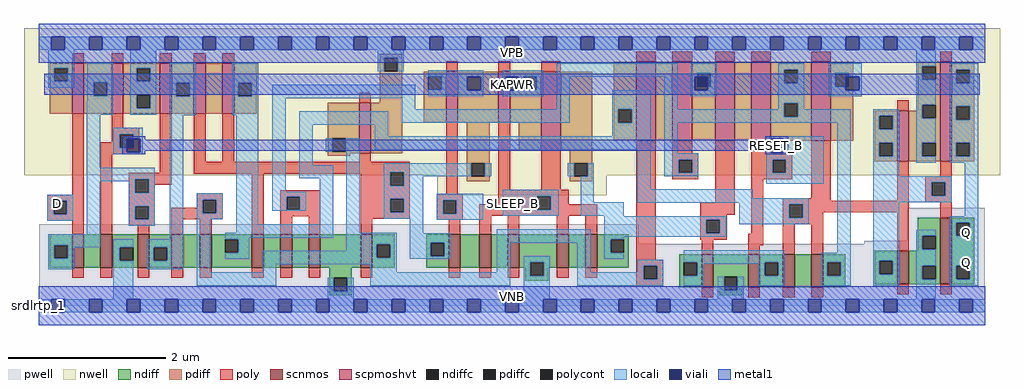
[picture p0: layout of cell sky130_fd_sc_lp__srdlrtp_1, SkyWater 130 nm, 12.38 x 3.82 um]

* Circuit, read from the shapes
.subckt sky130_fd_sc_lp__srdlrtp_1 D GATE RESET_B SLEEP_B KAPWR VGND VNB VPB VPWR Q
XM1 n1 D n2 VNB sky130_fd_pr__nfet_01v8 w=0.42 l=0.15
XM2 VGND RESET_B n1 VNB sky130_fd_pr__nfet_01v8 w=0.42 l=0.15
XM3 n3 n2 VGND VNB sky130_fd_pr__nfet_01v8 w=0.42 l=0.15
XM4 n4 n5 n3 VNB sky130_fd_pr__nfet_01v8 w=0.42 l=0.15
XM5 n6 n5 n4 VNB sky130_fd_pr__nfet_01v8 w=0.42 l=0.15
XM6 n7 n8 n6 VNB sky130_fd_pr__nfet_01v8 w=0.42 l=0.15
XM7 n9 n10 n7 VNB sky130_fd_pr__nfet_01v8 w=0.42 l=0.15
XM8 VGND n10 n9 VNB sky130_fd_pr__nfet_01v8 w=0.42 l=0.15
XM9 n5 n8 VGND VNB sky130_fd_pr__nfet_01v8 w=0.42 l=0.15
XM10 n11 GATE n8 VNB sky130_fd_pr__nfet_01v8 w=0.42 l=0.15
XM11 n12 SLEEP_B n11 VNB sky130_fd_pr__nfet_01v8 w=0.42 l=0.15
XM12 VGND SLEEP_B n12 VNB sky130_fd_pr__nfet_01v8 w=0.42 l=0.15
XM13 n13 SLEEP_B VGND VNB sky130_fd_pr__nfet_01v8 w=0.42 l=0.15
XM14 n14 SLEEP_B n13 VNB sky130_fd_pr__nfet_01v8 w=0.42 l=0.15
XM15 VGND n14 n15 VNB sky130_fd_pr__nfet_01v8 w=0.42 l=0.15
XM16 n15 RESET_B VGND VNB sky130_fd_pr__nfet_01v8 w=0.42 l=0.15
XM17 n16 n6 n15 VNB sky130_fd_pr__nfet_01v8 w=0.42 l=0.15
XM18 n10 n6 n16 VNB sky130_fd_pr__nfet_01v8 w=0.42 l=0.15
XM19 VGND n6 n17 VNB sky130_fd_pr__nfet_01v8 w=0.42 l=0.15
XM20 Q n17 VGND VNB sky130_fd_pr__nfet_01v8 w=0.84 l=0.15
XM21 n2 D VPWR VPB sky130_fd_pr__pfet_01v8_hvt w=0.64 l=0.15
XM22 VPWR RESET_B n2 VPB sky130_fd_pr__pfet_01v8_hvt w=0.64 l=0.15
XM23 n3 n2 VPWR VPB sky130_fd_pr__pfet_01v8_hvt w=0.64 l=0.15
XM24 n18 n8 n3 VPB sky130_fd_pr__pfet_01v8_hvt w=0.64 l=0.15
XM25 n6 n8 n18 VPB sky130_fd_pr__pfet_01v8_hvt w=0.64 l=0.15
XM26 VPWR n8 n5 VPB sky130_fd_pr__pfet_01v8_hvt w=0.64 l=0.15
XM27 n8 GATE KAPWR VPB sky130_fd_pr__pfet_01v8_hvt w=0.64 l=0.15
XM28 KAPWR SLEEP_B n8 VPB sky130_fd_pr__pfet_01v8_hvt w=0.64 l=0.15
XM29 n14 SLEEP_B KAPWR VPB sky130_fd_pr__pfet_01v8_hvt w=1 l=0.25
XM30 n19 n5 n6 VPB sky130_fd_pr__pfet_01v8_hvt w=1 l=0.25
XM31 KAPWR n10 n19 VPB sky130_fd_pr__pfet_01v8_hvt w=1 l=0.25
XM32 n20 n14 KAPWR VPB sky130_fd_pr__pfet_01v8_hvt w=1 l=0.25
XM33 n10 RESET_B n20 VPB sky130_fd_pr__pfet_01v8_hvt w=1 l=0.25
XM34 KAPWR n6 n10 VPB sky130_fd_pr__pfet_01v8_hvt w=1 l=0.25
XM35 VPWR n6 n17 VPB sky130_fd_pr__pfet_01v8_hvt w=0.64 l=0.15
XM36 Q n17 VPWR VPB sky130_fd_pr__pfet_01v8_hvt w=1.26 l=0.15
.ends

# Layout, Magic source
magic
tech sky130A
magscale 1 2
<< nwell >>
rect -38 331 2438 704
rect 1011 280 1440 331
<< pwell >>
rect 1 157 1522 207
rect 2203 165 2399 249
rect 2094 157 2399 165
rect 1 49 2399 157
rect 0 0 2400 49
<< scnmos >>
rect 84 97 114 181
rect 156 97 186 181
rect 250 97 280 181
rect 336 97 366 181
rect 408 97 438 181
rect 540 97 570 181
rect 612 97 642 181
rect 684 97 714 181
rect 816 97 846 181
rect 1039 97 1069 181
rect 1117 97 1147 181
rect 1189 97 1219 181
rect 1314 97 1344 181
rect 1386 97 1416 181
rect 1681 47 1711 131
rect 1799 47 1829 131
rect 1887 47 1917 131
rect 1959 47 1989 131
rect 2177 55 2207 139
rect 2286 55 2316 223
<< scpmoshvt >>
rect 84 487 114 615
rect 184 487 214 615
rect 307 487 337 615
rect 393 487 423 615
rect 465 487 495 615
rect 812 387 842 515
rect 1033 466 1063 594
rect 1165 466 1195 594
rect 1274 394 1324 594
rect 1515 419 1565 619
rect 1607 419 1657 619
rect 1715 419 1765 619
rect 1807 419 1857 619
rect 1959 419 2009 619
rect 2177 367 2207 495
rect 2286 367 2316 619
<< ndiff >>
rect 27 154 84 181
rect 27 120 39 154
rect 73 120 84 154
rect 27 97 84 120
rect 114 97 156 181
rect 186 148 250 181
rect 186 114 205 148
rect 239 114 250 148
rect 186 97 250 114
rect 280 148 336 181
rect 280 114 291 148
rect 325 114 336 148
rect 280 97 336 114
rect 366 97 408 181
rect 438 169 540 181
rect 438 135 472 169
rect 506 135 540 169
rect 438 97 540 135
rect 570 97 612 181
rect 642 97 684 181
rect 714 97 816 181
rect 846 156 903 181
rect 846 122 857 156
rect 891 122 903 156
rect 846 97 903 122
rect 982 160 1039 181
rect 982 126 994 160
rect 1028 126 1039 160
rect 982 97 1039 126
rect 1069 97 1117 181
rect 1147 97 1189 181
rect 1219 110 1314 181
rect 1219 97 1246 110
rect 736 71 794 97
rect 1234 76 1246 97
rect 1280 97 1314 110
rect 1344 97 1386 181
rect 1416 169 1496 181
rect 1416 135 1450 169
rect 1484 135 1496 169
rect 1416 97 1496 135
rect 2229 177 2286 223
rect 2229 143 2241 177
rect 2275 143 2286 177
rect 2229 139 2286 143
rect 1280 76 1292 97
rect 736 37 748 71
rect 782 37 794 71
rect 1234 64 1292 76
rect 1624 110 1681 131
rect 1624 76 1636 110
rect 1670 76 1681 110
rect 1624 47 1681 76
rect 1711 73 1799 131
rect 1711 47 1738 73
rect 736 27 794 37
rect 1726 39 1738 47
rect 1772 47 1799 73
rect 1829 110 1887 131
rect 1829 76 1841 110
rect 1875 76 1887 110
rect 1829 47 1887 76
rect 1917 47 1959 131
rect 1989 110 2046 131
rect 1989 76 2000 110
rect 2034 76 2046 110
rect 1989 47 2046 76
rect 2120 114 2177 139
rect 2120 80 2132 114
rect 2166 80 2177 114
rect 2120 55 2177 80
rect 2207 101 2286 139
rect 2207 67 2241 101
rect 2275 67 2286 101
rect 2207 55 2286 67
rect 2316 211 2373 223
rect 2316 177 2327 211
rect 2361 177 2373 211
rect 2316 101 2373 177
rect 2316 67 2327 101
rect 2361 67 2373 101
rect 2316 55 2373 67
rect 1772 39 1784 47
rect 1726 27 1784 39
<< pdiff >>
rect 864 629 922 639
rect 27 603 84 615
rect 27 569 39 603
rect 73 569 84 603
rect 27 487 84 569
rect 114 567 184 615
rect 114 533 139 567
rect 173 533 184 567
rect 114 487 184 533
rect 214 603 307 615
rect 214 569 248 603
rect 282 569 307 603
rect 214 535 307 569
rect 214 501 248 535
rect 282 501 307 535
rect 214 487 307 501
rect 337 566 393 615
rect 337 532 348 566
rect 382 532 393 566
rect 337 487 393 532
rect 423 487 465 615
rect 495 566 552 615
rect 495 532 506 566
rect 540 532 552 566
rect 864 595 876 629
rect 910 595 922 629
rect 495 487 552 532
rect 864 515 922 595
rect 732 425 812 515
rect 732 391 744 425
rect 778 391 812 425
rect 732 387 812 391
rect 842 387 922 515
rect 976 582 1033 594
rect 976 548 988 582
rect 1022 548 1033 582
rect 976 466 1033 548
rect 1063 466 1165 594
rect 1195 582 1274 594
rect 1195 548 1229 582
rect 1263 548 1274 582
rect 1195 466 1274 548
rect 732 380 790 387
rect 1085 362 1143 466
rect 1085 328 1097 362
rect 1131 328 1143 362
rect 1085 316 1143 328
rect 1217 394 1274 466
rect 1324 394 1404 594
rect 1458 498 1515 619
rect 1458 464 1470 498
rect 1504 464 1515 498
rect 1458 419 1515 464
rect 1565 419 1607 619
rect 1657 590 1715 619
rect 1657 556 1670 590
rect 1704 556 1715 590
rect 1657 419 1715 556
rect 1765 419 1807 619
rect 1857 599 1959 619
rect 1857 565 1891 599
rect 1925 565 1959 599
rect 1857 514 1959 565
rect 1857 480 1891 514
rect 1925 480 1959 514
rect 1857 419 1959 480
rect 2009 590 2066 619
rect 2009 556 2020 590
rect 2054 556 2066 590
rect 2009 419 2066 556
rect 2229 607 2286 619
rect 2229 573 2241 607
rect 2275 573 2286 607
rect 2229 510 2286 573
rect 2229 495 2241 510
rect 2120 482 2177 495
rect 2120 448 2132 482
rect 2166 448 2177 482
rect 1346 362 1404 394
rect 1346 328 1358 362
rect 1392 328 1404 362
rect 1346 316 1404 328
rect 2120 413 2177 448
rect 2120 379 2132 413
rect 2166 379 2177 413
rect 2120 367 2177 379
rect 2207 476 2241 495
rect 2275 476 2286 510
rect 2207 413 2286 476
rect 2207 379 2241 413
rect 2275 379 2286 413
rect 2207 367 2286 379
rect 2316 599 2373 619
rect 2316 565 2327 599
rect 2361 565 2373 599
rect 2316 506 2373 565
rect 2316 472 2327 506
rect 2361 472 2373 506
rect 2316 413 2373 472
rect 2316 379 2327 413
rect 2361 379 2373 413
rect 2316 367 2373 379
<< ndiffc >>
rect 39 120 73 154
rect 205 114 239 148
rect 291 114 325 148
rect 472 135 506 169
rect 857 122 891 156
rect 994 126 1028 160
rect 1246 76 1280 110
rect 1450 135 1484 169
rect 2241 143 2275 177
rect 748 37 782 71
rect 1636 76 1670 110
rect 1738 39 1772 73
rect 1841 76 1875 110
rect 2000 76 2034 110
rect 2132 80 2166 114
rect 2241 67 2275 101
rect 2327 177 2361 211
rect 2327 67 2361 101
<< pdiffc >>
rect 39 569 73 603
rect 139 533 173 567
rect 248 569 282 603
rect 248 501 282 535
rect 348 532 382 566
rect 506 532 540 566
rect 876 595 910 629
rect 744 391 778 425
rect 988 548 1022 582
rect 1229 548 1263 582
rect 1097 328 1131 362
rect 1470 464 1504 498
rect 1670 556 1704 590
rect 1891 565 1925 599
rect 1891 480 1925 514
rect 2020 556 2054 590
rect 2241 573 2275 607
rect 2132 448 2166 482
rect 1358 328 1392 362
rect 2132 379 2166 413
rect 2241 476 2275 510
rect 2241 379 2275 413
rect 2327 565 2361 599
rect 2327 472 2361 506
rect 2327 379 2361 413
<< poly >>
rect 84 615 114 641
rect 184 615 214 641
rect 307 615 337 641
rect 393 615 423 641
rect 465 615 495 641
rect 812 515 842 541
rect 1033 594 1063 620
rect 1165 594 1195 620
rect 1274 594 1324 620
rect 1515 619 1565 645
rect 1607 619 1657 645
rect 1715 619 1765 645
rect 1807 619 1857 645
rect 1959 619 2009 645
rect 2286 619 2316 645
rect 84 282 114 487
rect 184 451 214 487
rect 184 435 255 451
rect 184 415 205 435
rect 21 266 114 282
rect 21 232 37 266
rect 71 232 114 266
rect 21 216 114 232
rect 84 181 114 216
rect 156 401 205 415
rect 239 401 255 435
rect 156 385 255 401
rect 156 181 186 385
rect 307 337 337 487
rect 228 321 337 337
rect 393 365 423 487
rect 465 365 495 487
rect 812 365 842 387
rect 393 339 941 365
rect 393 335 891 339
rect 228 287 244 321
rect 278 307 337 321
rect 278 287 294 307
rect 228 253 294 287
rect 228 219 244 253
rect 278 219 294 253
rect 400 269 466 285
rect 400 249 416 269
rect 228 203 294 219
rect 336 235 416 249
rect 450 235 466 269
rect 336 219 466 235
rect 250 181 280 203
rect 336 181 366 219
rect 408 181 438 219
rect 540 181 570 335
rect 816 305 891 335
rect 925 305 941 339
rect 612 277 714 293
rect 612 243 628 277
rect 662 243 714 277
rect 612 227 714 243
rect 612 181 642 227
rect 684 181 714 227
rect 816 271 941 305
rect 1033 284 1063 466
rect 1165 294 1195 466
rect 2177 495 2207 521
rect 1274 294 1324 394
rect 816 237 891 271
rect 925 237 941 271
rect 816 221 941 237
rect 1009 268 1075 284
rect 1009 234 1025 268
rect 1059 234 1075 268
rect 1165 278 1344 294
rect 1165 258 1264 278
rect 816 181 846 221
rect 1009 218 1075 234
rect 1117 244 1264 258
rect 1298 258 1344 278
rect 1298 244 1416 258
rect 1117 228 1416 244
rect 1039 181 1069 218
rect 1117 181 1147 228
rect 1189 181 1219 228
rect 1314 181 1344 228
rect 1386 181 1416 228
rect 84 71 114 97
rect 156 71 186 97
rect 250 71 280 97
rect 336 71 366 97
rect 408 71 438 97
rect 540 71 570 97
rect 612 71 642 97
rect 684 71 714 97
rect 816 71 846 97
rect 1039 71 1069 97
rect 1117 71 1147 97
rect 1189 71 1219 97
rect 1515 117 1565 419
rect 1607 387 1657 419
rect 1607 371 1673 387
rect 1607 337 1623 371
rect 1657 337 1673 371
rect 1607 321 1673 337
rect 1715 261 1765 419
rect 1677 231 1765 261
rect 1807 387 1857 419
rect 1807 371 1911 387
rect 1807 337 1861 371
rect 1895 337 1911 371
rect 1807 321 1911 337
rect 1677 218 1745 231
rect 1677 184 1693 218
rect 1727 184 1745 218
rect 1677 168 1745 184
rect 1807 183 1837 321
rect 1959 273 2009 419
rect 1681 131 1711 168
rect 1799 153 1837 183
rect 1887 267 2009 273
rect 2177 267 2207 367
rect 2286 329 2316 367
rect 1887 257 2207 267
rect 2249 313 2316 329
rect 2249 279 2265 313
rect 2299 279 2316 313
rect 2249 263 2316 279
rect 1887 223 1903 257
rect 1937 237 2207 257
rect 1937 223 1989 237
rect 1887 207 1989 223
rect 1799 131 1829 153
rect 1887 131 1917 207
rect 1959 131 1989 207
rect 2177 139 2207 237
rect 2286 223 2316 263
rect 1515 101 1584 117
rect 1314 71 1344 97
rect 1386 71 1416 97
rect 1515 67 1534 101
rect 1568 67 1584 101
rect 1515 51 1584 67
rect 1681 21 1711 47
rect 1799 21 1829 47
rect 1887 21 1917 47
rect 1959 21 1989 47
rect 2177 29 2207 55
rect 2286 29 2316 55
<< polycont >>
rect 37 232 71 266
rect 205 401 239 435
rect 244 287 278 321
rect 244 219 278 253
rect 416 235 450 269
rect 891 305 925 339
rect 628 243 662 277
rect 891 237 925 271
rect 1025 234 1059 268
rect 1264 244 1298 278
rect 1623 337 1657 371
rect 1861 337 1895 371
rect 1693 184 1727 218
rect 2265 279 2299 313
rect 1903 223 1937 257
rect 1534 67 1568 101
<< locali >>
rect 0 649 31 683
rect 65 649 127 683
rect 161 649 223 683
rect 257 649 319 683
rect 353 649 415 683
rect 449 649 511 683
rect 545 649 607 683
rect 641 649 703 683
rect 737 649 799 683
rect 833 649 895 683
rect 929 649 991 683
rect 1025 649 1087 683
rect 1121 649 1183 683
rect 1217 649 1279 683
rect 1313 649 1375 683
rect 1409 649 1471 683
rect 1505 649 1567 683
rect 1601 649 1663 683
rect 1697 649 1759 683
rect 1793 649 1855 683
rect 1889 649 1951 683
rect 1985 649 2047 683
rect 2081 649 2143 683
rect 2177 649 2239 683
rect 2273 649 2335 683
rect 2369 649 2400 683
rect 23 603 89 649
rect 23 569 39 603
rect 73 569 89 603
rect 23 553 89 569
rect 123 567 189 615
rect 123 533 139 567
rect 173 533 189 567
rect 123 519 189 533
rect 121 485 189 519
rect 232 603 298 649
rect 860 629 926 649
rect 232 569 248 603
rect 282 569 298 603
rect 232 535 298 569
rect 232 501 248 535
rect 282 501 298 535
rect 232 485 298 501
rect 332 566 398 615
rect 332 532 348 566
rect 382 532 398 566
rect 121 350 155 485
rect 332 483 398 532
rect 490 566 556 615
rect 860 595 876 629
rect 910 595 926 629
rect 490 532 506 566
rect 540 532 556 566
rect 988 582 1127 598
rect 490 483 556 532
rect 189 435 263 451
rect 189 401 205 435
rect 239 424 263 435
rect 189 390 223 401
rect 257 390 263 424
rect 189 384 263 390
rect 121 321 294 350
rect 121 316 244 321
rect 21 266 87 282
rect 21 232 37 266
rect 71 232 87 266
rect 21 216 87 232
rect 121 182 155 316
rect 228 287 244 316
rect 278 287 294 321
rect 228 253 294 287
rect 228 219 244 253
rect 278 219 294 253
rect 228 203 294 219
rect 23 154 155 182
rect 332 169 366 483
rect 23 120 39 154
rect 73 148 155 154
rect 189 148 239 169
rect 73 120 89 148
rect 23 93 89 120
rect 189 114 205 148
rect 189 17 239 114
rect 275 148 366 169
rect 275 114 291 148
rect 325 114 366 148
rect 275 93 366 114
rect 400 269 466 285
rect 400 235 416 269
rect 450 235 466 269
rect 400 219 466 235
rect 400 85 434 219
rect 500 207 556 483
rect 592 527 954 561
rect 1022 581 1127 582
rect 1022 548 1087 581
rect 988 547 1087 548
rect 1121 547 1127 581
rect 988 532 1127 547
rect 1177 582 1279 598
rect 1177 581 1229 582
rect 1177 547 1183 581
rect 1217 548 1229 581
rect 1263 548 1279 582
rect 1217 547 1279 548
rect 1177 532 1279 547
rect 1313 581 1620 615
rect 592 289 626 527
rect 920 498 954 527
rect 1313 498 1347 581
rect 660 459 886 493
rect 920 464 1347 498
rect 1454 498 1552 547
rect 1454 464 1470 498
rect 1504 464 1552 498
rect 660 357 694 459
rect 852 430 886 459
rect 1454 430 1552 464
rect 728 391 744 425
rect 778 391 814 425
rect 852 396 1552 430
rect 660 323 746 357
rect 592 277 678 289
rect 592 243 628 277
rect 662 243 678 277
rect 592 241 678 243
rect 712 207 746 323
rect 500 185 746 207
rect 472 173 746 185
rect 780 185 814 391
rect 875 339 1097 362
rect 875 305 891 339
rect 925 328 1097 339
rect 1131 328 1147 362
rect 1342 328 1358 362
rect 1392 328 1408 362
rect 925 305 975 328
rect 875 271 975 305
rect 875 237 891 271
rect 925 237 975 271
rect 875 221 975 237
rect 472 169 534 173
rect 506 135 534 169
rect 780 156 907 185
rect 780 139 857 156
rect 472 119 534 135
rect 568 122 857 139
rect 891 122 907 156
rect 568 105 907 122
rect 941 184 975 221
rect 1009 268 1127 284
rect 1009 234 1025 268
rect 1059 234 1127 268
rect 1009 218 1127 234
rect 1177 278 1319 294
rect 1177 244 1264 278
rect 1298 244 1319 278
rect 1177 228 1319 244
rect 1374 262 1408 328
rect 1518 295 1552 396
rect 1586 498 1620 581
rect 1654 590 1720 615
rect 1654 581 1670 590
rect 1654 547 1663 581
rect 1704 556 1720 590
rect 1697 547 1720 556
rect 1654 532 1720 547
rect 1875 599 1941 615
rect 1875 565 1891 599
rect 1925 565 1941 599
rect 1875 514 1941 565
rect 2004 590 2087 615
rect 2004 556 2020 590
rect 2054 581 2087 590
rect 2004 547 2047 556
rect 2081 547 2087 581
rect 2004 532 2087 547
rect 2225 607 2275 649
rect 2225 573 2241 607
rect 1875 498 1891 514
rect 1586 480 1891 498
rect 1925 498 1941 514
rect 2225 510 2275 573
rect 1925 480 2059 498
rect 1586 464 2059 480
rect 1586 387 1620 464
rect 1845 424 1991 430
rect 1845 390 1855 424
rect 1889 390 1991 424
rect 1586 371 1673 387
rect 1586 337 1623 371
rect 1657 337 1673 371
rect 1586 329 1673 337
rect 1845 371 1991 390
rect 1845 337 1861 371
rect 1895 337 1991 371
rect 1845 310 1991 337
rect 1518 273 1811 295
rect 1374 228 1484 262
rect 1518 261 1953 273
rect 1434 227 1484 228
rect 1777 257 1953 261
rect 1434 218 1743 227
rect 941 160 1044 184
rect 941 126 994 160
rect 1028 126 1044 160
rect 941 119 1044 126
rect 1161 160 1400 194
rect 568 85 602 105
rect 400 51 602 85
rect 841 85 907 105
rect 1161 85 1195 160
rect 732 37 748 71
rect 782 37 798 71
rect 841 51 1195 85
rect 1230 110 1296 126
rect 1230 76 1246 110
rect 1280 76 1296 110
rect 732 17 798 37
rect 1230 17 1296 76
rect 1366 85 1400 160
rect 1434 184 1693 218
rect 1727 184 1743 218
rect 1777 223 1903 257
rect 1937 223 1953 257
rect 1777 207 1953 223
rect 1434 175 1743 184
rect 1434 169 1484 175
rect 1434 135 1450 169
rect 1434 119 1484 135
rect 1518 101 1584 117
rect 1518 85 1534 101
rect 1366 67 1534 85
rect 1568 67 1584 101
rect 1366 51 1584 67
rect 1636 110 1891 141
rect 2025 135 2059 464
rect 1670 107 1841 110
rect 1670 76 1686 107
rect 1636 51 1686 76
rect 1825 76 1841 107
rect 1875 76 1891 110
rect 1722 39 1738 73
rect 1772 39 1788 73
rect 1825 51 1891 76
rect 1984 110 2059 135
rect 1984 76 2000 110
rect 2034 76 2059 110
rect 1984 51 2059 76
rect 2116 482 2182 498
rect 2116 448 2132 482
rect 2166 448 2182 482
rect 2116 413 2182 448
rect 2116 379 2132 413
rect 2166 379 2182 413
rect 2116 329 2182 379
rect 2225 476 2241 510
rect 2225 413 2275 476
rect 2225 379 2241 413
rect 2225 363 2275 379
rect 2311 599 2383 615
rect 2311 565 2327 599
rect 2361 565 2383 599
rect 2311 506 2383 565
rect 2311 472 2327 506
rect 2361 472 2383 506
rect 2311 413 2383 472
rect 2311 379 2327 413
rect 2361 379 2383 413
rect 2311 363 2383 379
rect 2116 313 2315 329
rect 2116 279 2265 313
rect 2299 279 2315 313
rect 2116 263 2315 279
rect 2116 114 2182 263
rect 2349 227 2383 363
rect 2311 211 2383 227
rect 2116 80 2132 114
rect 2166 80 2182 114
rect 2116 51 2182 80
rect 2225 177 2275 193
rect 2225 143 2241 177
rect 2225 101 2275 143
rect 2225 67 2241 101
rect 1722 17 1788 39
rect 2225 17 2275 67
rect 2311 177 2327 211
rect 2361 177 2383 211
rect 2311 101 2383 177
rect 2311 67 2327 101
rect 2361 67 2383 101
rect 2311 51 2383 67
rect 0 -17 31 17
rect 65 -17 127 17
rect 161 -17 223 17
rect 257 -17 319 17
rect 353 -17 415 17
rect 449 -17 511 17
rect 545 -17 607 17
rect 641 -17 703 17
rect 737 -17 799 17
rect 833 -17 895 17
rect 929 -17 991 17
rect 1025 -17 1087 17
rect 1121 -17 1183 17
rect 1217 -17 1279 17
rect 1313 -17 1375 17
rect 1409 -17 1471 17
rect 1505 -17 1567 17
rect 1601 -17 1663 17
rect 1697 -17 1759 17
rect 1793 -17 1855 17
rect 1889 -17 1951 17
rect 1985 -17 2047 17
rect 2081 -17 2143 17
rect 2177 -17 2239 17
rect 2273 -17 2335 17
rect 2369 -17 2400 17
<< viali >>
rect 31 649 65 683
rect 127 649 161 683
rect 223 649 257 683
rect 319 649 353 683
rect 415 649 449 683
rect 511 649 545 683
rect 607 649 641 683
rect 703 649 737 683
rect 799 649 833 683
rect 895 649 929 683
rect 991 649 1025 683
rect 1087 649 1121 683
rect 1183 649 1217 683
rect 1279 649 1313 683
rect 1375 649 1409 683
rect 1471 649 1505 683
rect 1567 649 1601 683
rect 1663 649 1697 683
rect 1759 649 1793 683
rect 1855 649 1889 683
rect 1951 649 1985 683
rect 2047 649 2081 683
rect 2143 649 2177 683
rect 2239 649 2273 683
rect 2335 649 2369 683
rect 223 401 239 424
rect 239 401 257 424
rect 223 390 257 401
rect 1087 547 1121 581
rect 1183 547 1217 581
rect 1663 556 1670 581
rect 1670 556 1697 581
rect 1663 547 1697 556
rect 2047 556 2054 581
rect 2054 556 2081 581
rect 2047 547 2081 556
rect 1855 390 1889 424
rect 31 -17 65 17
rect 127 -17 161 17
rect 223 -17 257 17
rect 319 -17 353 17
rect 415 -17 449 17
rect 511 -17 545 17
rect 607 -17 641 17
rect 703 -17 737 17
rect 799 -17 833 17
rect 895 -17 929 17
rect 991 -17 1025 17
rect 1087 -17 1121 17
rect 1183 -17 1217 17
rect 1279 -17 1313 17
rect 1375 -17 1409 17
rect 1471 -17 1505 17
rect 1567 -17 1601 17
rect 1663 -17 1697 17
rect 1759 -17 1793 17
rect 1855 -17 1889 17
rect 1951 -17 1985 17
rect 2047 -17 2081 17
rect 2143 -17 2177 17
rect 2239 -17 2273 17
rect 2335 -17 2369 17
<< metal1 >>
rect 0 683 2400 715
rect 0 649 31 683
rect 65 649 127 683
rect 161 649 223 683
rect 257 649 319 683
rect 353 649 415 683
rect 449 649 511 683
rect 545 649 607 683
rect 641 649 703 683
rect 737 649 799 683
rect 833 649 895 683
rect 929 649 991 683
rect 1025 649 1087 683
rect 1121 649 1183 683
rect 1217 649 1279 683
rect 1313 649 1375 683
rect 1409 649 1471 683
rect 1505 649 1567 683
rect 1601 649 1663 683
rect 1697 649 1759 683
rect 1793 649 1855 683
rect 1889 649 1951 683
rect 1985 649 2047 683
rect 2081 649 2143 683
rect 2177 649 2239 683
rect 2273 649 2335 683
rect 2369 649 2400 683
rect 0 617 2400 649
rect 14 581 2386 589
rect 14 547 1087 581
rect 1121 547 1183 581
rect 1217 547 1663 581
rect 1697 547 2047 581
rect 2081 547 2386 581
rect 14 535 2386 547
rect 211 424 269 430
rect 211 390 223 424
rect 257 421 269 424
rect 1843 424 1901 430
rect 1843 421 1855 424
rect 257 393 1855 421
rect 257 390 269 393
rect 211 384 269 390
rect 1843 390 1855 393
rect 1889 390 1901 424
rect 1843 384 1901 390
rect 0 17 2400 49
rect 0 -17 31 17
rect 65 -17 127 17
rect 161 -17 223 17
rect 257 -17 319 17
rect 353 -17 415 17
rect 449 -17 511 17
rect 545 -17 607 17
rect 641 -17 703 17
rect 737 -17 799 17
rect 833 -17 895 17
rect 929 -17 991 17
rect 1025 -17 1087 17
rect 1121 -17 1183 17
rect 1217 -17 1279 17
rect 1313 -17 1375 17
rect 1409 -17 1471 17
rect 1505 -17 1567 17
rect 1601 -17 1663 17
rect 1697 -17 1759 17
rect 1793 -17 1855 17
rect 1889 -17 1951 17
rect 1985 -17 2047 17
rect 2081 -17 2143 17
rect 2177 -17 2239 17
rect 2273 -17 2335 17
rect 2369 -17 2400 17
rect 0 -49 2400 -17
<< labels >>
flabel pwell s 0 0 2400 49 0 FreeSans 200 0 0 0 VNB
port 7 nsew ground bidirectional
flabel nwell s 0 617 2400 666 0 FreeSans 200 0 0 0 VPB
port 8 nsew power bidirectional
rlabel comment s 0 0 0 0 4 srdlrtp_1
flabel metal1 s 14 535 2386 589 0 FreeSans 200 0 0 0 KAPWR
port 5 nsew power bidirectional
flabel metal1 s 1855 390 1889 424 0 FreeSans 340 0 0 0 RESET_B
port 3 nsew signal input
flabel metal1 s 0 617 2400 666 0 FreeSans 340 0 0 0 VPWR
port 9 nsew power bidirectional
flabel metal1 s 0 0 2400 49 0 FreeSans 340 0 0 0 VGND
port 6 nsew ground bidirectional
flabel locali s 2335 94 2369 128 0 FreeSans 340 0 0 0 Q
port 10 nsew signal output
flabel locali s 2335 168 2369 202 0 FreeSans 340 0 0 0 Q
port 10 nsew signal output
flabel locali s 31 242 65 276 0 FreeSans 340 0 0 0 D
port 1 nsew signal input
flabel locali s 1183 242 1217 276 0 FreeSans 340 0 0 0 SLEEP_B
port 4 nsew signal input
flabel locali s 1279 242 1313 276 0 FreeSans 340 0 0 0 SLEEP_B
port 4 nsew signal input
flabel locali s 1087 242 1121 276 0 FreeSans 340 0 0 0 GATE
port 2 nsew clock input
<< properties >>
string LEFsite unit
string LEFclass CORE
string FIXED_BBOX 0 0 2400 666
string GDS_FILE $PDKPATH/libs.ref/sky130_fd_sc_lp/gds/sky130_fd_sc_lp.gds
string LEFsymmetry X Y R90
string GDS_END 5377920
string GDS_START 5361896
<< end >>
